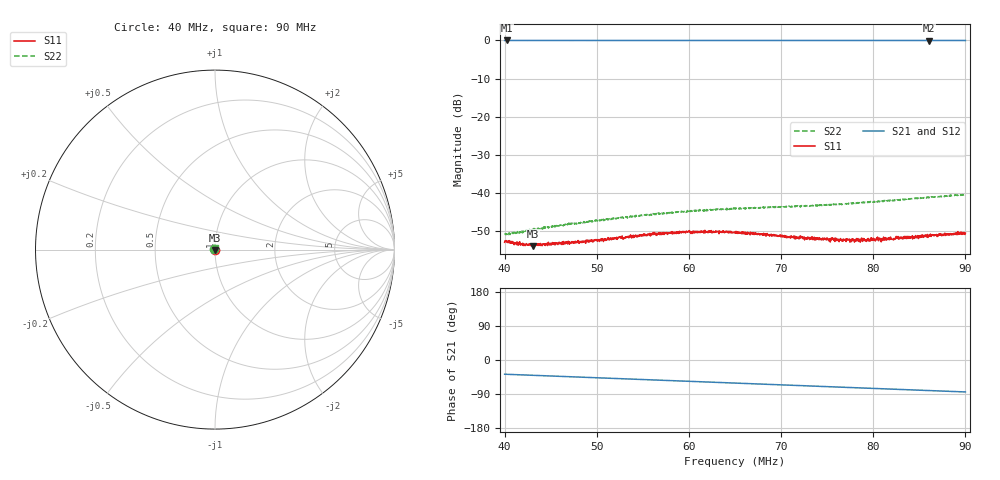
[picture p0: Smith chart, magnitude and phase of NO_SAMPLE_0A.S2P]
!Agilent Technologies,E5061B,MY49102235,A.02.00
!Date: Mon Jul 03 10:43:27 2023
!Data & Calibration Information:
!Freq	S11:SOLT2(ON)	S21:SOLT2(ON)	S12:SOLT2(ON)	S22:SOLT2(ON)
# Hz S RI R 50
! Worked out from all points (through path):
!   1600 points, 40 MHz to 90 MHz, reference 50 ohm
!   highest |S21| = 0.00 dB at 40.22 MHz (marker M1); lowest = 0.0 dB at 86.09 MHz (marker M2)
!   group delay of S21, straight-line fit = 2.6 ns
!   lowest |S11| = -53.9 dB at 43.03 MHz (marker M3), VSWR 1.00, Z = 49.9 - j0.192 ohm
!   |S11| at or under -10 dB: start of sweep to end of sweep
!   |S22| runs from -50.9 to -40.4 dB; largest |S21 - S12| = 0.0012
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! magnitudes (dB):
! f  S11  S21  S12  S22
! 40 MHz  -52.9  0.0  0.0  -50.8
! 40.22 MHz  -52.7  0.0  0.0  -50.9
! 41.97 MHz  -53.1  0.0  0.0  -50.3
! 43.03 MHz  -53.9  0.0  0.0  -49.5
! 46.04 MHz  -53.4  0.0  0.0  -48.4
! 48.35 MHz  -52.7  0.0  0.0  -47.8
! 56.67 MHz  -50.4  0.0  0.0  -45.2
! 59.92 MHz  -50.0  0.0  0.0  -44.9
! 60.36 MHz  -50.3  0.0  0.0  -44.8
! 62.17 MHz  -50.1  0.0  0.0  -44.5
! 65.02 MHz  -50.2  0.0  0.0  -44.1
! 68.24 MHz  -50.6  0.0  0.0  -43.8
! 71.71 MHz  -51.8  0.0  0.0  -43.4
! 73.36 MHz  -51.4  0.0  0.0  -43.3
! 74.46 MHz  -52.1  0.0  0.0  -43.2
! 77.71 MHz  -52.5  0.0  0.0  -42.7
! 81.68 MHz  -51.9  0.0  0.0  -42.0
! 82.18 MHz  -52.0  0.0  0.0  -42.0
! 82.68 MHz  -51.4  0.0  0.0  -41.8
! 84.53 MHz  -51.6  0.0  0.0  -41.5
! 86.09 MHz  -51.0  0.0  0.0  -41.1
! 90 MHz  -50.5  0.0  0.0  -40.4
